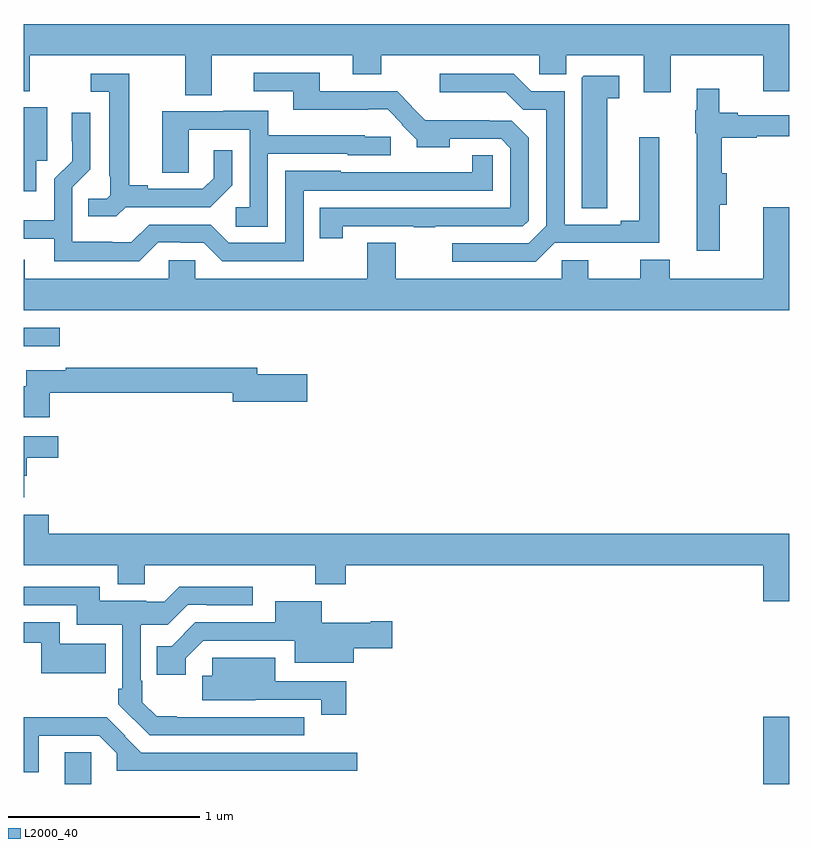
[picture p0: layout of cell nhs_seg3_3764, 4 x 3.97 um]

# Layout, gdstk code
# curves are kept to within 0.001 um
import gdstk
lib = gdstk.Library(unit=1e-6, precision=1e-09)
def R(c, l, rs):  # rectangles x0, y0, x1, y1
    for r in rs: c.add(gdstk.rectangle(r[:2], r[2:], *l))
def P(c, l, *ps):  # polygons
    for p in ps: c.add(gdstk.Polygon(p, *l))
L2000_40 = (2000, 40)

nhs_seg3_3764 = lib.new_cell('nhs_seg3_3764')
R(nhs_seg3_3764, L2000_40, [(305.213,738.4,305.352,738.566), (308.864,738.4,309,738.751), (305,740.688,305.188,740.784)])
P(nhs_seg3_3764, L2000_40, [(305,742.021),(305.031,742.021),(305.031,742.208),(305.843,742.208),(305.843,742),(305.983,742),(305.983,742.208),(306.719,742.208),(306.719,742.109),(306.867,742.109),(306.867,742.208),(307.695,742.208),(307.695,742.11),(307.834,742.11),(307.834,742.208),(308.24,742.208),(308.24,742.014),(308.38,742.014),(308.38,742.208),(308.864,742.208),(308.864,742.02),(309,742.02),(309,742.372),(305,742.372)],
  [(306.666,741.315),(307.039,741.315),(307.039,741.31),(307.151,741.31),(307.151,741.315),(307.608,741.315),(307.638,741.345),(307.638,741.777),(307.549,741.866),(307.433,741.866),(307.433,741.868),(307.099,741.868),(307.025,741.941),(307.027,741.943),(306.951,742.02),(306.547,742.02),(306.547,742.116),(306.201,742.116),(306.201,742.02),(306.407,742.02),(306.407,741.923),(306.8,741.923),(306.8,741.926),(306.902,741.926),(306.978,741.849),(306.975,741.846),(307.054,741.768),(307.054,741.728),(307.225,741.728),(307.225,741.771),(307.494,741.771),(307.542,741.723),(307.542,741.411),(306.547,741.411),(306.547,741.252),(306.666,741.252)],
  [(307.774,741.228),(308.32,741.228),(308.32,741.781),(308.216,741.781),(308.216,741.344),(308.12,741.344),(308.12,741.324),(307.827,741.324),(307.827,742.02),(307.653,742.02),(307.56,742.113),(307.173,742.113),(307.173,742.016),(307.519,742.016),(307.61,741.925),(307.731,741.925),(307.731,741.318),(307.638,741.225),(307.239,741.225),(307.239,741.129),(307.675,741.129)],
  [(305.532,741.414),(305.974,741.414),(306.09,741.53),(306.09,741.712),(305.993,741.712),(305.993,741.567),(305.936,741.51),(305.647,741.51),(305.647,741.53),(305.551,741.53),(305.551,742.113),(305.349,742.113),(305.349,742.017),(305.447,742.017),(305.447,741.577),(305.451,741.577),(305.451,741.477),(305.433,741.459),(305.338,741.459),(305.338,741.367),(305.484,741.367)],
  [(308.05,741.985),(308.113,741.985),(308.113,742.101),(307.926,742.101),(307.916,742.091),(307.916,741.409),(308.05,741.409)],
  [(308.638,741.427),(308.674,741.427),(308.674,741.592),(308.648,741.592),(308.648,741.778),(308.831,741.778),(308.831,741.786),(309,741.786),(309,741.894),(308.731,741.894),(308.731,741.907),(308.635,741.907),(308.635,742.033),(308.516,742.033),(308.516,741.92),(308.509,741.92),(308.509,741.801),(308.516,741.801),(308.516,741.186),(308.638,741.186)],
  [(305.065,741.657),(305.122,741.657),(305.122,741.936),(305,741.936),(305,741.498),(305.065,741.498)],
  [(306.276,741.693),(306.693,741.693),(306.693,741.687),(306.918,741.687),(306.918,741.783),(306.783,741.783),(306.783,741.79),(306.277,741.79),(306.277,741.919),(306.041,741.919),(306.041,741.915),(305.723,741.915),(305.723,741.595),(305.862,741.595),(305.862,741.819),(306.18,741.819),(306.18,741.414),(306.108,741.414),(306.108,741.313),(306.276,741.313)],
  [(305.703,741.231),(305.82,741.231),(305.82,741.228),(305.94,741.228),(306.036,741.132),(306.462,741.132),(306.462,741.501),(307.452,741.501),(307.452,741.686),(307.344,741.686),(307.344,741.598),(306.657,741.597),(306.657,741.604),(306.366,741.604),(306.366,741.228),(306.072,741.228),(305.976,741.324),(305.655,741.324),(305.562,741.231),(305.462,741.231),(305.462,741.235),(305.253,741.235),(305.253,741.519),(305.346,741.612),(305.346,741.907),(305.25,741.907),(305.25,741.76),(305.252,741.76),(305.252,741.654),(305.16,741.562),(305.16,741.346),(305,741.346),(305,741.249),(305.159,741.249),(305.159,741.131),(305.603,741.131)],
  [(309,741.415),(308.864,741.415),(308.864,741.04),(308.375,741.04),(308.375,741.139),(308.222,741.139),(308.222,741.04),(307.951,741.04),(307.951,741.138),(307.812,741.138),(307.812,741.04),(306.943,741.04),(306.943,741.23),(306.796,741.23),(306.796,741.04),(305.895,741.04),(305.895,741.138),(305.757,741.138),(305.757,741.04),(305.005,741.04),(305.005,741.139),(305,741.139),(305,740.876),(309,740.876)],
  [(305.135,740.446),(306.092,740.446),(306.092,740.399),(306.481,740.399),(306.481,740.541),(306.22,740.541),(306.22,740.575),(305.218,740.575),(305.218,740.562),(305.012,740.562),(305.012,740.478),(305,740.478),(305,740.316),(305.135,740.316)],
  [(305.002,740.01),(305.015,740.01),(305.015,740.104),(305.179,740.104),(305.179,740.218),(305,740.218),(305,739.898),(305.002,739.898)],
  [(309,739.708),(305.129,739.708),(305.129,739.807),(305,739.807),(305,739.544),(305.492,739.544),(305.492,739.445),(305.632,739.445),(305.632,739.544),(306.523,739.544),(306.523,739.445),(306.683,739.445),(306.683,739.544),(308.864,739.544),(308.864,739.356),(309,739.356)],
  [(306.466,738.75),(305.8,738.75),(305.8,738.753),(305.696,738.753),(305.62,738.828),(305.62,738.94),(305.61,738.94),(305.61,739.233),(305.751,739.233),(305.856,739.338),(305.956,739.338),(305.956,739.335),(306.196,739.335),(306.196,739.432),(305.812,739.432),(305.733,739.353),(305.639,739.353),(305.639,739.357),(305.398,739.357),(305.398,739.431),(305,739.431),(305,739.335),(305.276,739.335),(305.276,739.232),(305.514,739.232),(305.514,738.898),(305.494,738.898),(305.494,738.817),(305.657,738.654),(306.466,738.654)],
  [(305.845,739.057),(305.937,739.149),(306.416,739.149),(306.416,739.034),(306.724,739.034),(306.724,739.109),(306.925,739.109),(306.925,739.251),(306.812,739.251),(306.812,739.243),(306.556,739.243),(306.556,739.354),(306.314,739.354),(306.314,739.245),(305.897,739.245),(305.772,739.12),(305.695,739.12),(305.695,738.972),(305.845,738.972)],
  [(305.429,739.132),(305.187,739.132),(305.187,739.245),(305,739.245),(305,739.137),(305.091,739.137),(305.091,738.98),(305.429,738.98)],
  [(306.685,738.936),(306.313,738.936),(306.313,739.06),(305.984,739.06),(305.984,738.967),(305.933,738.967),(305.933,738.839),(306.209,738.839),(306.209,738.84),(306.554,738.84),(306.554,738.762),(306.685,738.762)],
  [(305.077,738.651),(305.394,738.651),(305.485,738.561),(305.485,738.468),(306.742,738.468),(306.742,738.564),(305.613,738.564),(305.528,738.649),(305.531,738.652),(305.433,738.75),(305,738.75),(305,738.462),(305.077,738.462)])

lib.write_gds('nhs_seg3_3764.gds')
